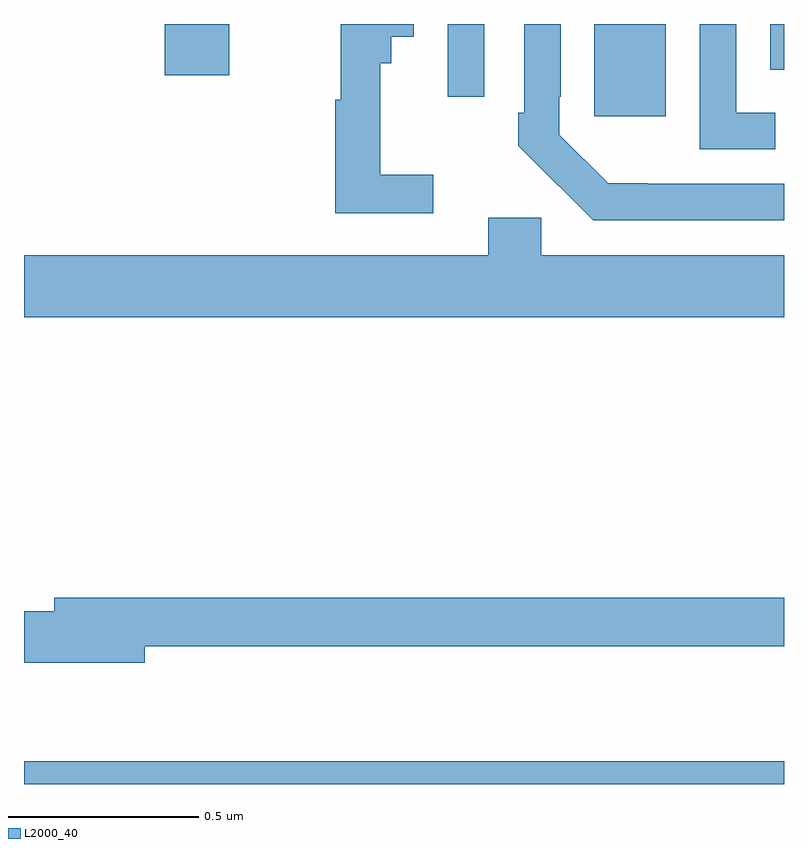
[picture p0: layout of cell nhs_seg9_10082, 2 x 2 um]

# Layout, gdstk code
import gdstk
lib = gdstk.Library(unit=1e-6, precision=1e-09)
def R(c, l, rs):  # rectangles x0, y0, x1, y1
    for r in rs: c.add(gdstk.rectangle(r[:2], r[2:], *l))
def P(c, l, *ps):  # polygons
    for p in ps: c.add(gdstk.Polygon(p, *l))
L2000_40 = (2000, 40)

nhs_seg9_10082 = lib.new_cell('nhs_seg9_10082')
R(nhs_seg9_10082, L2000_40, [(238,1220.5,240,1220.56), (239.501,1222.257,239.689,1222.5), (239.115,1222.308,239.211,1222.5), (238.37,1222.365,238.54,1222.5), (239.964,1222.38,240,1222.5)])
P(nhs_seg9_10082, L2000_40, [(239.077,1222.103),(238.937,1222.103),(238.937,1222.397),(238.966,1222.397),(238.966,1222.466),(239.026,1222.466),(239.026,1222.5),(238.834,1222.5),(238.834,1222.301),(238.819,1222.301),(238.819,1222.002),(239.077,1222.002)],
  [(239.977,1222.266),(239.874,1222.266),(239.874,1222.5),(239.778,1222.5),(239.778,1222.17),(239.977,1222.17)],
  [(240,1222.08),(239.641,1222.08),(239.641,1222.081),(239.538,1222.081),(239.409,1222.209),(239.409,1222.309),(239.412,1222.309),(239.412,1222.5),(239.316,1222.5),(239.316,1222.267),(239.301,1222.267),(239.301,1222.179),(239.406,1222.074),(239.407,1222.075),(239.498,1221.984),(240,1221.984)],
  [(240,1221.892),(239.361,1221.892),(239.361,1221.99),(239.222,1221.99),(239.222,1221.892),(238,1221.892),(238,1221.728),(240,1221.728)],
  [(238.318,1220.862),(240,1220.862),(240,1220.99),(238.079,1220.99),(238.079,1220.954),(238,1220.954),(238,1220.819),(238.318,1220.819)])

lib.write_gds('nhs_seg9_10082.gds')
